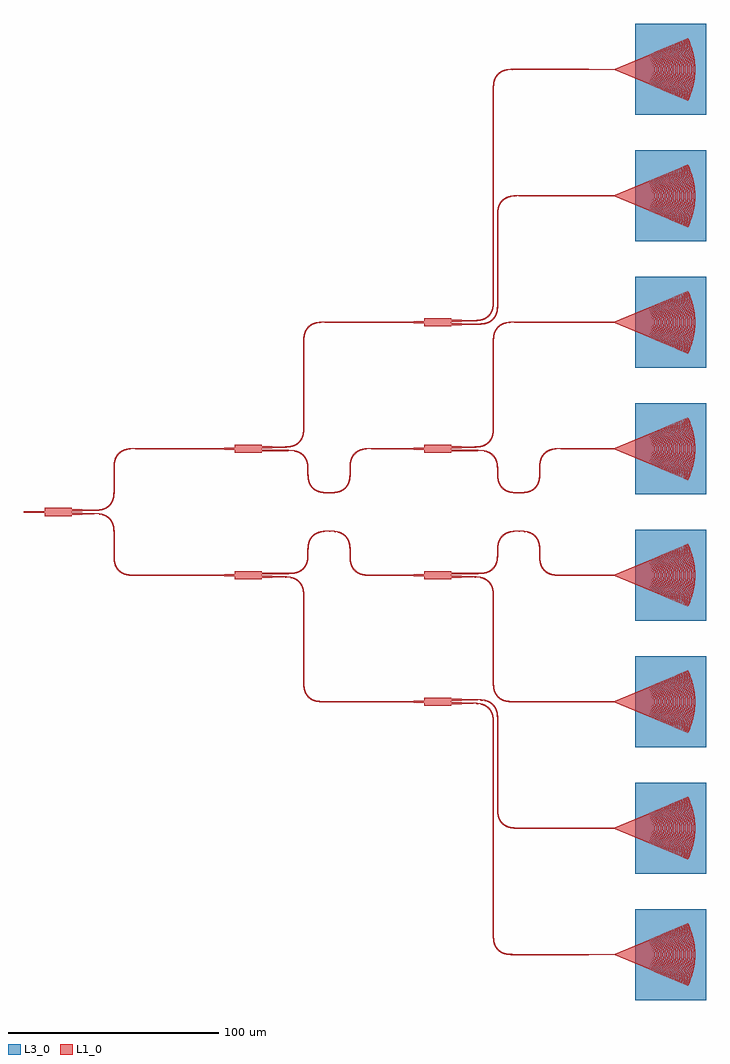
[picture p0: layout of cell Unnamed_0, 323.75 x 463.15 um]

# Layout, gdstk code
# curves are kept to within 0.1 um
from math import pi, radians
import gdstk
lib = gdstk.Library(unit=1e-6, precision=1e-09)
def R(c, l, rs):  # rectangles x0, y0, x1, y1
    for r in rs: c.add(gdstk.rectangle(r[:2], r[2:], *l))
def P(c, l, *ps):  # polygons
    for p in ps: c.add(gdstk.Polygon(p, *l))
L1_0 = (1, 0)
L3_0 = (3, 0)

c__mmi1x2_lm12p8_wm3p8_gm0 = lib.new_cell('_mmi1x2_LM12p8_WM3p8_GM0p25_LT10_WT1p4')
P(c__mmi1x2_lm12p8_wm3p8_gm0, L1_0, [(0,-1.9),(0,-0.7),(-10,-0.25),(-10,0.25),(0,0.7),(0,1.9),(12.8,1.9),(12.8,1.525),(22.8,1.075),(22.8,0.575),(12.8,0.125),(12.8,-0.125),(22.8,-0.575),(22.8,-1.075),(12.8,-1.525),(12.8,-1.9)])

c__gc_pte_tl16p6_ta40_w1p5 = lib.new_cell('_gc_Pte_TL16p6_TA40_W1p554_FA15_GLW0p343_N2p638_N1p443__4d3a4ab3')
P(c__gc_pte_tl16p6_ta40_w1p5, L1_0, [(16.778,-7.078),(0.158,-0.2),(-11.842,-0.25),(-11.842,0.25),(0.158,0.2),(16.778,7.078),(17.444,5.522),(18.009,3.632),(18.306,1.968),(18.427,0),(18.306,-1.968),(18.009,-3.632),(17.444,-5.522)],
  [(17.35,-7.327),(17.066,-7.191),(17.744,-5.61),(18.318,-3.689),(18.619,-1.999),(18.742,0),(18.619,1.999),(18.318,3.689),(17.744,5.61),(17.066,7.191),(17.35,7.327),(18.04,5.718),(18.32,4.888),(18.624,3.761),(18.85,2.615),(18.965,1.748),(19.058,0),(18.965,-1.748),(18.85,-2.615),(18.624,-3.761),(18.32,-4.888),(18.04,-5.718)],
  [(17.924,-7.57),(17.64,-7.432),(18.012,-6.624),(18.44,-5.519),(18.934,-3.813),(19.245,-2.065),(19.349,-0.888),(19.372,0),(19.349,0.888),(19.245,2.065),(18.934,3.813),(18.44,5.519),(18.012,6.624),(17.64,7.432),(17.924,7.57),(18.302,6.748),(18.738,5.623),(19.24,3.885),(19.473,2.702),(19.592,1.806),(19.688,0),(19.592,-1.806),(19.473,-2.702),(19.24,-3.885),(18.738,-5.623),(18.302,-6.748)],
  [(18.498,-7.811),(18.214,-7.675),(18.716,-6.558),(19.137,-5.409),(19.4,-4.531),(19.677,-3.34),(19.935,-1.525),(20.002,0),(19.935,1.525),(19.677,3.34),(19.4,4.531),(19.137,5.409),(18.716,6.558),(18.214,7.675),(18.498,7.811),(19.233,6.095),(19.62,4.913),(19.856,4.009),(20.096,2.788),(20.219,1.863),(20.318,0),(20.219,-1.863),(20.096,-2.788),(19.856,-4.009),(19.62,-4.913),(19.233,-6.095)],
  [(19.071,-8.053),(18.787,-7.917),(19.305,-6.764),(19.74,-5.58),(20.091,-4.369),(20.297,-3.446),(20.563,-1.574),(20.632,0),(20.563,1.574),(20.297,3.446),(20.091,4.369),(19.74,5.58),(19.305,6.764),(18.787,7.917),(19.071,8.053),(19.597,6.884),(19.937,5.982),(20.471,4.134),(20.719,2.875),(20.846,1.921),(20.948,0),(20.846,-1.921),(20.719,-2.875),(20.471,-4.134),(19.937,-5.982),(19.597,-6.884)],
  [(19.645,-8.295),(19.361,-8.159),(19.895,-6.97),(20.239,-6.058),(20.622,-4.816),(20.917,-3.551),(21.159,-1.945),(21.262,0),(21.159,1.945),(20.917,3.551),(20.622,4.816),(20.239,6.058),(19.895,6.97),(19.361,8.159),(19.645,8.295),(20.187,7.09),(20.537,6.162),(21.087,4.258),(21.287,3.286),(21.473,1.979),(21.578,0),(21.473,-1.979),(21.287,-3.286),(21.087,-4.258),(20.537,-6.162),(20.187,-7.09)],
  [(20.219,-8.537),(19.935,-8.401),(20.484,-7.178),(20.945,-5.921),(21.233,-4.959),(21.536,-3.656),(21.786,-2.002),(21.892,0),(21.786,2.002),(21.536,3.656),(21.233,4.959),(20.945,5.921),(20.484,7.178),(19.935,8.401),(20.219,8.537),(21.022,6.662),(21.349,5.694),(21.703,4.382),(21.965,3.047),(22.1,2.036),(22.208,0),(22.1,-2.036),(21.965,-3.047),(21.703,-4.382),(21.349,-5.694),(21.022,-6.662)],
  [(20.792,-8.779),(20.508,-8.643),(21.073,-7.384),(21.438,-6.418),(21.844,-5.102),(22.156,-3.762),(22.413,-2.06),(22.522,0),(22.413,2.06),(22.156,3.762),(21.844,5.102),(21.438,6.418),(21.073,7.384),(20.508,8.643),(20.792,8.779),(21.365,7.504),(21.736,6.522),(22.319,4.506),(22.589,3.134),(22.727,2.094),(22.838,0),(22.727,-2.094),(22.589,-3.134),(22.319,-4.506),(21.736,-6.522),(21.365,-7.504)],
  [(21.366,-9.021),(21.082,-8.885),(21.663,-7.591),(22.038,-6.597),(22.455,-5.245),(22.776,-3.867),(23.04,-2.118),(23.152,0),(23.04,2.118),(22.776,3.867),(22.455,5.245),(22.038,6.597),(21.663,7.591),(21.082,8.885),(21.366,9.021),(21.955,7.711),(22.336,6.701),(22.934,4.63),(23.212,3.22),(23.354,2.152),(23.468,0),(23.354,-2.152),(23.212,-3.22),(22.934,-4.63),(22.336,-6.701),(21.955,-7.711)],
  [(21.939,-9.263),(21.655,-9.127),(22.252,-7.799),(22.754,-6.433),(23.158,-5.036),(23.396,-3.972),(23.667,-2.176),(23.782,0),(23.667,2.176),(23.396,3.972),(23.158,5.036),(22.754,6.433),(22.252,7.799),(21.655,9.127),(21.939,9.263),(22.402,8.258),(22.935,6.881),(23.55,4.754),(23.835,3.306),(23.981,2.21),(24.098,0),(23.981,-2.21),(23.835,-3.306),(23.55,-4.754),(22.935,-6.881),(22.402,-8.258)],
  [(22.513,-9.505),(22.229,-9.369),(22.698,-8.349),(23.237,-6.957),(23.677,-5.531),(24.015,-4.078),(24.294,-2.233),(24.412,0),(24.294,2.233),(24.015,4.078),(23.677,5.531),(23.237,6.957),(22.698,8.349),(22.229,9.369),(22.513,9.505),(23.134,8.124),(23.535,7.061),(24.166,4.879),(24.458,3.393),(24.608,2.267),(24.728,0),(24.608,-2.267),(24.458,-3.393),(24.166,-4.879),(23.535,-7.061),(23.134,-8.124)],
  [(23.087,-9.747),(22.803,-9.611),(23.431,-8.211),(23.837,-7.136),(24.288,-5.674),(24.635,-4.183),(24.958,-1.91),(25.042,0),(24.958,1.91),(24.635,4.183),(24.288,5.674),(23.837,7.136),(23.431,8.211),(22.803,9.611),(23.087,9.747),(23.723,8.331),(24.135,7.24),(24.781,5.003),(25.081,3.479),(25.234,2.325),(25.358,0),(25.234,-2.325),(25.081,-3.479),(24.781,-5.003),(24.135,-7.24),(23.723,-8.331)],
  [(23.66,-9.99),(23.376,-9.852),(24.021,-8.419),(24.562,-6.945),(24.998,-5.437),(25.255,-4.287),(25.586,-1.958),(25.672,0),(25.586,1.958),(25.255,4.287),(24.998,5.437),(24.562,6.945),(24.021,8.419),(23.376,9.852),(23.66,9.99),(24.313,8.537),(24.734,7.42),(25.096,6.282),(25.397,5.127),(25.638,3.958),(25.861,2.383),(25.988,0),(25.861,-2.383),(25.638,-3.958),(25.397,-5.127),(25.096,-6.282),(24.734,-7.42),(24.313,-8.537)],
  [(24.234,-10.231),(23.95,-10.095),(24.61,-8.626),(25.165,-7.115),(25.612,-5.57),(25.875,-4.394),(26.076,-3.205),(26.213,-2.007),(26.302,0),(26.213,2.007),(26.076,3.205),(25.875,4.394),(25.612,5.57),(25.165,7.115),(24.61,8.626),(23.95,10.095),(24.234,10.231),(24.745,9.121),(25.334,7.6),(25.704,6.434),(26.013,5.251),(26.327,3.652),(26.488,2.44),(26.618,0),(26.488,-2.44),(26.327,-3.652),(26.013,-5.251),(25.704,-6.434),(25.334,-7.6),(24.745,-9.121)],
  [(24.808,-10.473),(24.524,-10.337),(25.2,-8.832),(25.636,-7.676),(26.121,-6.102),(26.494,-4.499),(26.7,-3.281),(26.841,-2.055),(26.932,0),(26.841,2.055),(26.7,3.281),(26.494,4.499),(26.121,6.102),(25.636,7.676),(25.2,8.832),(24.524,10.337),(24.808,10.473),(25.331,9.336),(25.934,7.78),(26.313,6.586),(26.629,5.375),(26.951,3.738),(27.115,2.498),(27.214,1.25),(27.248,0),(27.214,-1.25),(27.115,-2.498),(26.951,-3.738),(26.629,-5.375),(26.313,-6.586),(25.934,-7.78),(25.331,-9.336)],
  [(25.381,-10.715),(25.097,-10.579),(25.789,-9.038),(26.235,-7.855),(26.619,-6.651),(27.03,-5.017),(27.262,-3.774),(27.428,-2.522),(27.529,-1.263),(27.562,0),(27.529,1.263),(27.428,2.522),(27.262,3.774),(27.03,5.017),(26.619,6.651),(26.235,7.855),(25.789,9.038),(25.097,10.579),(25.381,10.715),(25.916,9.552),(26.39,8.361),(26.8,7.147),(27.244,5.5),(27.574,3.824),(27.742,2.556),(27.843,1.279),(27.878,0),(27.843,-1.279),(27.742,-2.556),(27.574,-3.824),(27.244,-5.5),(26.8,-7.147),(26.39,-8.361),(25.916,-9.552)],
  [(25.955,-10.957),(25.671,-10.821),(26.378,-9.246),(26.973,-7.627),(27.452,-5.971),(27.734,-4.71),(27.95,-3.435),(28.097,-2.151),(28.192,0),(28.097,2.151),(27.95,3.435),(27.734,4.71),(27.452,5.971),(26.973,7.627),(26.378,9.246),(25.671,10.821),(25.955,10.957),(26.502,9.768),(27.133,8.139),(27.53,6.891),(27.86,5.624),(28.197,3.911),(28.369,2.613),(28.472,1.308),(28.508,0),(28.472,-1.308),(28.369,-2.613),(28.197,-3.911),(27.86,-5.624),(27.53,-6.891),(27.133,-8.139),(26.502,-9.768)],
  [(26.528,-11.199),(26.244,-11.063),(26.798,-9.859),(27.435,-8.215),(27.836,-6.955),(28.266,-5.246),(28.508,-3.947),(28.682,-2.637),(28.787,-1.321),(28.822,0),(28.787,1.321),(28.682,2.637),(28.508,3.947),(28.266,5.246),(27.836,6.955),(27.435,8.215),(26.798,9.859),(26.244,11.063),(26.528,11.199),(27.26,9.572),(27.733,8.319),(28.138,7.043),(28.476,5.748),(28.82,3.997),(28.996,2.671),(29.101,1.337),(29.138,0),(29.101,-1.337),(28.996,-2.671),(28.82,-3.997),(28.476,-5.748),(28.138,-7.043),(27.733,-8.319),(27.26,-9.572)],
  [(27.102,-11.441),(26.818,-11.305),(27.557,-9.659),(28.178,-7.968),(28.565,-6.674),(28.974,-4.92),(29.199,-3.589),(29.353,-2.247),(29.452,0),(29.353,2.247),(29.199,3.589),(28.974,4.92),(28.565,6.674),(28.178,7.968),(27.557,9.659),(26.818,11.305),(27.102,11.441),(27.673,10.199),(28.179,8.927),(28.617,7.631),(29.092,5.872),(29.443,4.083),(29.623,2.729),(29.731,1.366),(29.768,0),(29.731,-1.366),(29.623,-2.729),(29.443,-4.083),(29.092,-5.872),(28.617,-7.631),(28.179,-8.927),(27.673,-10.199)],
  [(27.676,-11.683),(27.392,-11.547),(28.147,-9.866),(28.634,-8.574),(29.177,-6.817),(29.501,-5.476),(29.754,-4.12),(29.936,-2.753),(30.046,-1.379),(30.082,0),(30.046,1.379),(29.936,2.753),(29.754,4.12),(29.501,5.476),(29.177,6.817),(28.634,8.574),(28.147,9.866),(27.392,11.547),(27.676,11.683),(28.259,10.415),(28.932,8.678),(29.355,7.347),(29.707,5.996),(30.066,4.17),(30.25,2.787),(30.36,1.395),(30.398,0),(30.36,-1.395),(30.25,-2.787),(30.066,-4.17),(29.707,-5.996),(29.355,-7.347),(28.932,-8.678),(28.259,-10.415)],
  [(28.249,-11.925),(27.965,-11.789),(28.555,-10.506),(29.234,-8.754),(29.788,-6.959),(30.119,-5.591),(30.377,-4.206),(30.563,-2.81),(30.675,-1.408),(30.712,0),(30.675,1.408),(30.563,2.81),(30.377,4.206),(30.119,5.591),(29.788,6.959),(29.234,8.754),(28.555,10.506),(27.965,11.789),(28.249,11.925),(28.845,10.63),(29.532,8.858),(29.963,7.499),(30.323,6.12),(30.61,4.725),(30.877,2.844),(30.989,1.424),(31.028,0),(30.989,-1.424),(30.877,-2.844),(30.61,-4.725),(30.323,-6.12),(29.963,-7.499),(29.532,-8.858),(28.845,-10.63)],
  [(28.823,-12.167),(28.539,-12.031),(29.326,-10.28),(29.833,-8.934),(30.27,-7.563),(30.737,-5.705),(31.001,-4.293),(31.19,-2.868),(31.304,-1.436),(31.342,0),(31.304,1.436),(31.19,2.868),(31.001,4.293),(30.737,5.705),(30.27,7.563),(29.833,8.934),(29.326,10.28),(28.539,12.031),(28.823,12.167),(29.431,10.846),(30.131,9.038),(30.572,7.651),(30.939,6.245),(31.313,4.343),(31.504,2.902),(31.618,1.452),(31.658,0),(31.618,-1.452),(31.504,-2.902),(31.313,-4.343),(30.939,-6.245),(30.572,-7.651),(30.131,-9.038),(29.431,-10.846)],
  [(29.397,-12.409),(29.113,-12.273),(29.915,-10.486),(30.433,-9.113),(31.01,-7.245),(31.355,-5.82),(31.624,-4.379),(31.817,-2.926),(31.934,-1.465),(31.972,0),(31.934,1.465),(31.817,2.926),(31.624,4.379),(31.355,5.82),(31.01,7.245),(30.433,9.113),(29.915,10.486),(29.113,12.273),(29.397,12.409),(30.207,10.606),(30.731,9.217),(31.18,7.804),(31.554,6.369),(31.936,4.429),(32.131,2.96),(32.248,1.481),(32.288,0),(32.248,-1.481),(32.131,-2.96),(31.936,-4.429),(31.554,-6.369),(31.18,-7.804),(30.731,-9.217),(30.207,-10.606)],
  [(29.97,-12.651),(29.686,-12.515),(30.504,-10.694),(31.033,-9.293),(31.487,-7.868),(31.973,-5.935),(32.247,-4.465),(32.444,-2.983),(32.563,-1.494),(32.602,0),(32.563,1.494),(32.444,2.983),(32.247,4.465),(31.973,5.935),(31.487,7.868),(31.033,9.293),(30.504,10.694),(29.686,12.515),(29.97,12.651),(30.602,11.277),(31.331,9.397),(31.789,7.956),(32.17,6.493),(32.559,4.515),(32.758,3.017),(32.877,1.51),(32.918,0),(32.877,-1.51),(32.758,-3.017),(32.559,-4.515),(32.17,-6.493),(31.789,-7.956),(31.331,-9.397),(30.602,-11.277)],
  [(30.544,-12.893),(30.26,-12.757),(31.094,-10.9),(31.632,-9.473),(32.232,-7.531),(32.59,-6.05),(32.87,-4.552),(33.071,-3.041),(33.192,-1.523),(33.232,0),(33.192,1.523),(33.071,3.041),(32.87,4.552),(32.59,6.05),(32.232,7.531),(31.632,9.473),(31.094,10.9),(30.26,12.757),(30.544,12.893),(31.188,11.493),(31.93,9.577),(32.397,8.108),(32.786,6.617),(33.182,4.602),(33.385,3.075),(33.506,1.539),(33.548,0),(33.506,-1.539),(33.385,-3.075),(33.182,-4.602),(32.786,-6.617),(32.397,-8.108),(31.93,-9.577),(31.188,-11.493)],
  [(31.117,-13.135),(30.833,-12.999),(31.483,-11.585),(32.232,-9.652),(32.843,-7.674),(33.208,-6.164),(33.493,-4.638),(33.698,-3.099),(33.821,-1.552),(33.862,0),(33.821,1.552),(33.698,3.099),(33.493,4.638),(33.208,6.164),(32.843,7.674),(32.232,9.652),(31.483,11.585),(30.833,12.999),(31.117,13.135),(31.773,11.709),(32.354,10.249),(32.856,8.761),(33.402,6.741),(33.718,5.204),(34.012,3.133),(34.135,1.568),(34.178,0),(34.135,-1.568),(34.012,-3.133),(33.718,-5.204),(33.402,-6.741),(32.856,-8.761),(32.354,-10.249),(31.773,-11.709)],
  [(31.691,-13.377),(31.407,-13.241),(32.273,-11.313),(32.831,-9.832),(33.454,-7.817),(33.826,-6.279),(34.116,-4.724),(34.325,-3.156),(34.451,-1.581),(34.492,0),(34.451,1.581),(34.325,3.156),(34.116,4.724),(33.826,6.279),(33.454,7.817),(32.831,9.832),(32.273,11.313),(31.407,13.241),(31.691,13.377),(32.359,11.924),(32.95,10.438),(33.614,8.412),(34.017,6.865),(34.428,4.774),(34.639,3.19),(34.765,1.597),(34.808,0),(34.765,-1.597),(34.639,-3.19),(34.428,-4.774),(34.017,-6.865),(33.614,-8.412),(32.95,-10.438),(32.359,-11.924)],
  [(32.265,-13.619),(31.981,-13.483),(32.655,-12.016),(33.431,-10.012),(34.065,-7.96),(34.444,-6.394),(34.739,-4.811),(34.952,-3.214),(35.08,-1.61),(35.122,0),(35.08,1.61),(34.952,3.214),(34.739,4.811),(34.444,6.394),(34.065,7.96),(33.431,10.012),(32.655,12.016),(31.981,13.483),(32.265,13.619),(33.154,11.64),(33.729,10.116),(34.222,8.564),(34.633,6.99),(34.961,5.396),(35.266,3.248),(35.394,1.626),(35.438,0),(35.394,-1.626),(35.266,-3.248),(34.961,-5.396),(34.633,-6.99),(34.222,-8.564),(33.729,-10.116),(33.154,-11.64)],
  [(32.838,-13.861),(32.554,-13.725),(33.241,-12.232),(34.031,-10.192),(34.529,-8.629),(35.062,-6.509),(35.363,-4.897),(35.579,-3.272),(35.709,-1.639),(35.752,0),(35.709,1.639),(35.579,3.272),(35.363,4.897),(35.062,6.509),(34.529,8.629),(34.031,10.192),(33.241,12.232),(32.554,13.725),(32.838,13.861),(33.531,12.356),(34.329,10.296),(34.831,8.717),(35.249,7.114),(35.675,4.947),(35.893,3.306),(36.023,1.655),(36.068,0),(36.023,-1.655),(35.893,-3.306),(35.675,-4.947),(35.249,-7.114),(34.831,-8.717),(34.329,-10.296),(33.531,-12.356)],
  [(33.412,-14.103),(33.128,-13.967),(34.041,-11.933),(34.63,-10.371),(35.137,-8.781),(35.68,-6.623),(35.986,-4.983),(36.206,-3.33),(36.338,-1.668),(36.382,0),(36.338,1.668),(36.206,3.33),(35.986,4.983),(35.68,6.623),(35.137,8.781),(34.63,10.371),(34.041,11.933),(33.128,13.967),(33.412,14.103),(34.116,12.571),(34.739,11.004),(35.439,8.869),(35.865,7.238),(36.298,5.033),(36.52,3.364),(36.652,1.684),(36.698,0),(36.652,-1.684),(36.52,-3.364),(36.298,-5.033),(35.865,-7.238),(35.439,-8.869),(34.739,-11.004),(34.116,-12.571)],
  [(33.986,-14.345),(33.702,-14.209),(34.631,-12.141),(35.23,-10.551),(35.898,-8.388),(36.297,-6.738),(36.609,-5.07),(36.832,-3.388),(36.967,-1.696),(37.012,0),(36.967,1.696),(36.832,3.388),(36.609,5.07),(36.297,6.738),(35.898,8.388),(35.23,10.551),(34.631,12.141),(33.702,14.209),(33.986,14.345),(34.702,12.787),(35.336,11.193),(35.885,9.568),(36.48,7.362),(36.825,5.683),(37.081,3.988),(37.246,2.283),(37.328,0),(37.246,-2.283),(37.081,-3.988),(36.825,-5.683),(36.48,-7.362),(35.885,-9.568),(35.336,-11.193),(34.702,-12.787)],
  [(34.559,-14.587),(34.275,-14.451),(35.22,-12.348),(35.83,-10.731),(36.354,-9.085),(36.915,-6.853),(37.232,-5.156),(37.459,-3.445),(37.597,-1.725),(37.642,0),(37.597,1.725),(37.459,3.445),(37.232,5.156),(36.915,6.853),(36.509,8.531),(35.83,10.731),(35.22,12.348),(34.275,14.451),(34.559,14.587),(35.288,13.003),(36.128,10.835),(36.656,9.173),(37.096,7.486),(37.544,5.206),(37.773,3.479),(37.911,1.741),(37.958,0),(37.911,-1.741),(37.773,-3.479),(37.544,-5.206),(37.096,-7.486),(36.656,-9.173),(36.128,-10.835),(35.288,-13.003)],
  [(35.133,-14.829),(34.849,-14.693),(35.584,-13.095),(36.429,-10.91),(37.12,-8.674),(37.533,-6.968),(37.855,-5.242),(38.086,-3.503),(38.226,-1.754),(38.272,0),(38.226,1.754),(38.086,3.503),(37.855,5.242),(37.533,6.968),(37.12,8.674),(36.429,10.91),(35.584,13.095),(34.849,14.693),(35.133,14.829),(35.874,13.219),(36.727,11.014),(37.264,9.325),(37.712,7.61),(38.167,5.292),(38.4,3.537),(38.54,1.77),(38.588,0),(38.54,-1.77),(38.4,-3.537),(38.167,-5.292),(37.712,-7.61),(37.264,-9.325),(36.727,-11.014),(35.874,-13.219)])
R(c__gc_pte_tl16p6_ta40_w1p5, L3_0, [(10.158,-21.575,43.746,21.575)])

bend_euler_gdsfactorypco = lib.new_cell('bend_euler_gdsfactorypcomponentspbendspbend_euler_R10_A_335c8724')
P(bend_euler_gdsfactorypco, L1_0, [(0,-0.25),(0,0.25),(2.881,0.353),(3.952,0.52),(4.99,0.806),(6.431,1.505),(7.575,2.425),(8.495,3.569),(9.194,5.01),(9.48,6.048),(9.647,7.119),(9.75,10),(10.25,10),(10.158,7.205),(9.797,5.254),(9.457,4.312),(9.066,3.545),(8.5,2.715),(7.928,2.072),(7.285,1.5),(6.455,0.934),(5.688,0.543),(4.746,0.203),(2.795,-0.158)])

straight_gdsfactorypcomp = lib.new_cell('straight_gdsfactorypcomponentspwaveguidespstraight_L9p1_903e26ba')
R(straight_gdsfactorypcomp, L1_0, [(0,-0.25,9.175,0.25)])

c_straight_gdsfactorypcomp = lib.new_cell('straight_gdsfactorypcomponentspwaveguidespstraight_L37p_cfa5a4ce')
R(c_straight_gdsfactorypcomp, L1_0, [(0,-0.25,37.2,0.25)])

c_straight_gdsfactorypcomp_ = lib.new_cell('straight_gdsfactorypcomponentspwaveguidespstraight_L39p_f76e6299')
R(c_straight_gdsfactorypcomp_, L1_0, [(0,-0.25,39.175,0.25)])

c_straight_gdsfactorypcomp__ = lib.new_cell('straight_gdsfactorypcomponentspwaveguidespstraight_L2_N_815d3d03')
R(c_straight_gdsfactorypcomp__, L1_0, [(0,-0.25,2,0.25)])

c_straight_gdsfactorypcomp___ = lib.new_cell('straight_gdsfactorypcomponentspwaveguidespstraight_L0p8_72a7319a')
R(c_straight_gdsfactorypcomp___, L1_0, [(0,-0.25,0.825,0.25)])

c_straight_gdsfactorypcomp____ = lib.new_cell('straight_gdsfactorypcomponentspwaveguidespstraight_L15p_72c0b567')
R(c_straight_gdsfactorypcomp____, L1_0, [(0,-0.25,15.2,0.25)])

c_straight_gdsfactorypcomp_____ = lib.new_cell('straight_gdsfactorypcomponentspwaveguidespstraight_L99p_ac930007')
R(c_straight_gdsfactorypcomp_____, L1_0, [(0,-0.25,99.175,0.25)])

c_straight_gdsfactorypcomp______ = lib.new_cell('straight_gdsfactorypcomponentspwaveguidespstraight_L35p_7f4b9b8d')
R(c_straight_gdsfactorypcomp______, L1_0, [(0,-0.25,35.358,0.25)])

c_straight_gdsfactorypcomp_______ = lib.new_cell('straight_gdsfactorypcomponentspwaveguidespstraight_L40p_cde61807')
R(c_straight_gdsfactorypcomp_______, L1_0, [(0,-0.25,40.825,0.25)])

c_straight_gdsfactorypcomp________ = lib.new_cell('straight_gdsfactorypcomponentspwaveguidespstraight_L33p_e9c9c3fb')
R(c_straight_gdsfactorypcomp________, L1_0, [(0,-0.25,33.358,0.25)])

c_straight_gdsfactorypcomp_________ = lib.new_cell('straight_gdsfactorypcomponentspwaveguidespstraight_L13p_e391443c')
R(c_straight_gdsfactorypcomp_________, L1_0, [(0,-0.25,13.358,0.25)])

unnamed_0 = lib.new_cell('Unnamed_0')
unnamed_0.add(gdstk.Reference(c__mmi1x2_lm12p8_wm3p8_gm0, (0,-10)))
unnamed_0.add(gdstk.Reference(c__mmi1x2_lm12p8_wm3p8_gm0, (90,20)))
unnamed_0.add(gdstk.Reference(c__mmi1x2_lm12p8_wm3p8_gm0, (90,-40)))
unnamed_0.add(gdstk.Reference(c__mmi1x2_lm12p8_wm3p8_gm0, (180,80)))
unnamed_0.add(gdstk.Reference(c__mmi1x2_lm12p8_wm3p8_gm0, (180,20)))
unnamed_0.add(gdstk.Reference(c__mmi1x2_lm12p8_wm3p8_gm0, (180,-40)))
unnamed_0.add(gdstk.Reference(c__mmi1x2_lm12p8_wm3p8_gm0, (180,-100)))
unnamed_0.add(gdstk.Reference(c__gc_pte_tl16p6_ta40_w1p5, (270,200)))
unnamed_0.add(gdstk.Reference(c__gc_pte_tl16p6_ta40_w1p5, (270,140)))
unnamed_0.add(gdstk.Reference(c__gc_pte_tl16p6_ta40_w1p5, (270,80)))
unnamed_0.add(gdstk.Reference(c__gc_pte_tl16p6_ta40_w1p5, (270,20)))
unnamed_0.add(gdstk.Reference(c__gc_pte_tl16p6_ta40_w1p5, (270,-40)))
unnamed_0.add(gdstk.Reference(c__gc_pte_tl16p6_ta40_w1p5, (270,-100)))
unnamed_0.add(gdstk.Reference(c__gc_pte_tl16p6_ta40_w1p5, (270,-160)))
unnamed_0.add(gdstk.Reference(c__gc_pte_tl16p6_ta40_w1p5, (270,-220)))
unnamed_0.add(gdstk.Reference(bend_euler_gdsfactorypco, (32.8,0.825), rotation=3*pi/2, x_reflection=True))
unnamed_0.add(gdstk.Reference(bend_euler_gdsfactorypco, (42.8,20), rotation=pi))
unnamed_0.add(gdstk.Reference(straight_gdsfactorypcomp, (32.8,0.825), rotation=pi/2))
unnamed_0.add(gdstk.Reference(c_straight_gdsfactorypcomp, (42.8,20)))
unnamed_0.add(gdstk.Reference(bend_euler_gdsfactorypco, (32.8,-20.825), rotation=pi/2))
unnamed_0.add(gdstk.Reference(bend_euler_gdsfactorypco, (42.8,-40), rotation=pi, x_reflection=True))
unnamed_0.add(gdstk.Reference(straight_gdsfactorypcomp, (32.8,-20.825), rotation=3*pi/2))
unnamed_0.add(gdstk.Reference(c_straight_gdsfactorypcomp, (42.8,-40)))
unnamed_0.add(gdstk.Reference(bend_euler_gdsfactorypco, (122.8,30.825), rotation=3*pi/2, x_reflection=True))
unnamed_0.add(gdstk.Reference(bend_euler_gdsfactorypco, (132.8,80), rotation=pi))
unnamed_0.add(gdstk.Reference(c_straight_gdsfactorypcomp_, (122.8,30.825), rotation=pi/2))
unnamed_0.add(gdstk.Reference(c_straight_gdsfactorypcomp, (132.8,80)))
unnamed_0.add(gdstk.Reference(bend_euler_gdsfactorypco, (124.8,9.175), rotation=pi/2))
unnamed_0.add(gdstk.Reference(c_straight_gdsfactorypcomp__, (112.8,19.175)))
unnamed_0.add(gdstk.Reference(bend_euler_gdsfactorypco, (134.8,-0.825), rotation=pi, x_reflection=True))
unnamed_0.add(gdstk.Reference(bend_euler_gdsfactorypco, (144.8,9.175), rotation=3*pi/2, x_reflection=True))
unnamed_0.add(gdstk.Reference(bend_euler_gdsfactorypco, (154.8,20), rotation=pi))
unnamed_0.add(gdstk.Reference(c_straight_gdsfactorypcomp___, (144.8,9.175), rotation=pi/2))
unnamed_0.add(gdstk.Reference(c_straight_gdsfactorypcomp____, (154.8,20)))
unnamed_0.add(gdstk.Reference(bend_euler_gdsfactorypco, (124.8,-29.175), rotation=3*pi/2, x_reflection=True))
unnamed_0.add(gdstk.Reference(c_straight_gdsfactorypcomp__, (112.8,-39.175)))
unnamed_0.add(gdstk.Reference(bend_euler_gdsfactorypco, (134.8,-19.175), rotation=pi))
unnamed_0.add(gdstk.Reference(bend_euler_gdsfactorypco, (144.8,-29.175), rotation=pi/2))
unnamed_0.add(gdstk.Reference(bend_euler_gdsfactorypco, (154.8,-40), rotation=pi, x_reflection=True))
unnamed_0.add(gdstk.Reference(c_straight_gdsfactorypcomp___, (144.8,-29.175), rotation=3*pi/2))
unnamed_0.add(gdstk.Reference(c_straight_gdsfactorypcomp____, (154.8,-40)))
unnamed_0.add(gdstk.Reference(bend_euler_gdsfactorypco, (122.8,-50.825), rotation=pi/2))
unnamed_0.add(gdstk.Reference(bend_euler_gdsfactorypco, (132.8,-100), rotation=pi, x_reflection=True))
unnamed_0.add(gdstk.Reference(c_straight_gdsfactorypcomp_, (122.8,-50.825), rotation=3*pi/2))
unnamed_0.add(gdstk.Reference(c_straight_gdsfactorypcomp, (132.8,-100)))
unnamed_0.add(gdstk.Reference(bend_euler_gdsfactorypco, (212.8,90.825), rotation=3*pi/2, x_reflection=True))
unnamed_0.add(gdstk.Reference(bend_euler_gdsfactorypco, (222.8,200), rotation=pi))
unnamed_0.add(gdstk.Reference(c_straight_gdsfactorypcomp_____, (212.8,90.825), rotation=pi/2))
unnamed_0.add(gdstk.Reference(c_straight_gdsfactorypcomp______, (222.8,200)))
unnamed_0.add(gdstk.Reference(bend_euler_gdsfactorypco, (214.8,89.175), rotation=3*pi/2, x_reflection=True))
unnamed_0.add(gdstk.Reference(c_straight_gdsfactorypcomp__, (202.8,79.175)))
unnamed_0.add(gdstk.Reference(bend_euler_gdsfactorypco, (224.8,140), rotation=pi))
unnamed_0.add(gdstk.Reference(c_straight_gdsfactorypcomp_______, (214.8,89.175), rotation=pi/2))
unnamed_0.add(gdstk.Reference(c_straight_gdsfactorypcomp________, (224.8,140)))
unnamed_0.add(gdstk.Reference(bend_euler_gdsfactorypco, (212.8,30.825), rotation=3*pi/2, x_reflection=True))
unnamed_0.add(gdstk.Reference(bend_euler_gdsfactorypco, (222.8,80), rotation=pi))
unnamed_0.add(gdstk.Reference(c_straight_gdsfactorypcomp_, (212.8,30.825), rotation=pi/2))
unnamed_0.add(gdstk.Reference(c_straight_gdsfactorypcomp______, (222.8,80)))
unnamed_0.add(gdstk.Reference(bend_euler_gdsfactorypco, (214.8,9.175), rotation=pi/2))
unnamed_0.add(gdstk.Reference(c_straight_gdsfactorypcomp__, (202.8,19.175)))
unnamed_0.add(gdstk.Reference(bend_euler_gdsfactorypco, (224.8,-0.825), rotation=pi, x_reflection=True))
unnamed_0.add(gdstk.Reference(bend_euler_gdsfactorypco, (234.8,9.175), rotation=3*pi/2, x_reflection=True))
unnamed_0.add(gdstk.Reference(bend_euler_gdsfactorypco, (244.8,20), rotation=pi))
unnamed_0.add(gdstk.Reference(c_straight_gdsfactorypcomp___, (234.8,9.175), rotation=pi/2))
unnamed_0.add(gdstk.Reference(c_straight_gdsfactorypcomp_________, (244.8,20)))
unnamed_0.add(gdstk.Reference(bend_euler_gdsfactorypco, (214.8,-29.175), rotation=3*pi/2, x_reflection=True))
unnamed_0.add(gdstk.Reference(c_straight_gdsfactorypcomp__, (202.8,-39.175)))
unnamed_0.add(gdstk.Reference(bend_euler_gdsfactorypco, (224.8,-19.175), rotation=pi))
unnamed_0.add(gdstk.Reference(bend_euler_gdsfactorypco, (234.8,-29.175), rotation=pi/2))
unnamed_0.add(gdstk.Reference(bend_euler_gdsfactorypco, (244.8,-40), rotation=pi, x_reflection=True))
unnamed_0.add(gdstk.Reference(c_straight_gdsfactorypcomp___, (234.8,-29.175), rotation=3*pi/2))
unnamed_0.add(gdstk.Reference(c_straight_gdsfactorypcomp_________, (244.8,-40)))
unnamed_0.add(gdstk.Reference(bend_euler_gdsfactorypco, (212.8,-50.825), rotation=pi/2))
unnamed_0.add(gdstk.Reference(bend_euler_gdsfactorypco, (222.8,-100), rotation=pi, x_reflection=True))
unnamed_0.add(gdstk.Reference(c_straight_gdsfactorypcomp_, (212.8,-50.825), rotation=3*pi/2))
unnamed_0.add(gdstk.Reference(c_straight_gdsfactorypcomp______, (222.8,-100)))
unnamed_0.add(gdstk.Reference(bend_euler_gdsfactorypco, (214.8,-109.175), rotation=pi/2))
unnamed_0.add(gdstk.Reference(c_straight_gdsfactorypcomp__, (202.8,-99.175)))
unnamed_0.add(gdstk.Reference(bend_euler_gdsfactorypco, (224.8,-160), rotation=pi, x_reflection=True))
unnamed_0.add(gdstk.Reference(c_straight_gdsfactorypcomp_______, (214.8,-109.175), rotation=3*pi/2))
unnamed_0.add(gdstk.Reference(c_straight_gdsfactorypcomp________, (224.8,-160)))
unnamed_0.add(gdstk.Reference(bend_euler_gdsfactorypco, (212.8,-110.825), rotation=pi/2))
unnamed_0.add(gdstk.Reference(bend_euler_gdsfactorypco, (222.8,-220), rotation=pi, x_reflection=True))
unnamed_0.add(gdstk.Reference(c_straight_gdsfactorypcomp_____, (212.8,-110.825), rotation=3*pi/2))
unnamed_0.add(gdstk.Reference(c_straight_gdsfactorypcomp______, (222.8,-220)))

lib.write_gds('Unnamed_0.gds')
